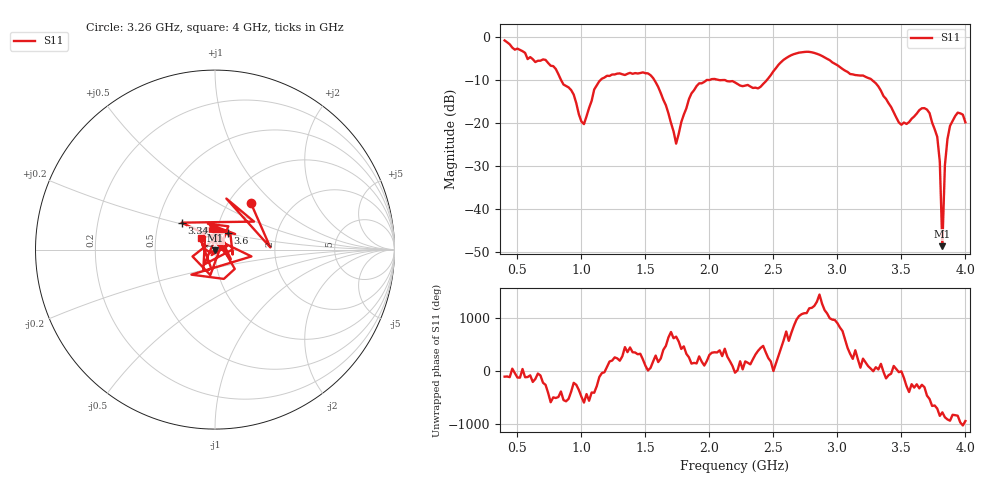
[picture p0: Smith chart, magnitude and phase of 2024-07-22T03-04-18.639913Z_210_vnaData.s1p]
!Created with skrf (http://scikit-rf.org).
# Hz S RI R 50.0
!freq ReS11 ImS11
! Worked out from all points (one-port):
!   181 points, 400 MHz to 4 GHz, reference 50 ohm
!   lowest |S11| = -48.6 dB at 3.82 GHz (marker M1), VSWR 1.01, Z = 50.2 - j0.308 ohm
!   |S11| at or under -10 dB: 1.571 GHz to 1.978 GHz (407 MHz wide, 22.9 % of centre); 2.123 GHz to 2.448 GHz (325 MHz wide, 14.2 % of centre); 3.272 GHz to end of sweep (the widest 3 of 4)
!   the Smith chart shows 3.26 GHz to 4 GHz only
!   S11 on the Smith chart (normalised r, x): 3.26 GHz: 1.26, +0.73; 3.34 GHz: 0.66, +0.21; 3.6 GHz: 1.14, +0.22; 4 GHz: 0.85, +0.11
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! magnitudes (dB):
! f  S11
! 400 MHz  -0.8
! 720 MHz  -5.3
! 860 MHz  -11.0
! 1.02 GHz  -20.2
! 1.14 GHz  -10.2
! 1.3 GHz  -8.4
! 1.54 GHz  -8.8
! 1.66 GHz  -15.8
! 1.74 GHz  -24.7
! 1.76 GHz  -22.5
! 1.92 GHz  -10.7
! 2.2 GHz  -10.5
! 2.38 GHz  -11.9
! 2.66 GHz  -3.9
! 3.1 GHz  -8.6
! 3.26 GHz  -9.7
! 3.34 GHz  -12.4
! 3.48 GHz  -19.8
! 3.56 GHz  -19.7
! 3.6 GHz  -18.4
! 3.7 GHz  -16.8
! 3.78 GHz  -23.2
! 3.8 GHz  -28.9
! 3.82 GHz  -48.6
! 3.84 GHz  -29.7
! 3.86 GHz  -23.7
! 3.94 GHz  -17.5
! 4 GHz  -19.8
